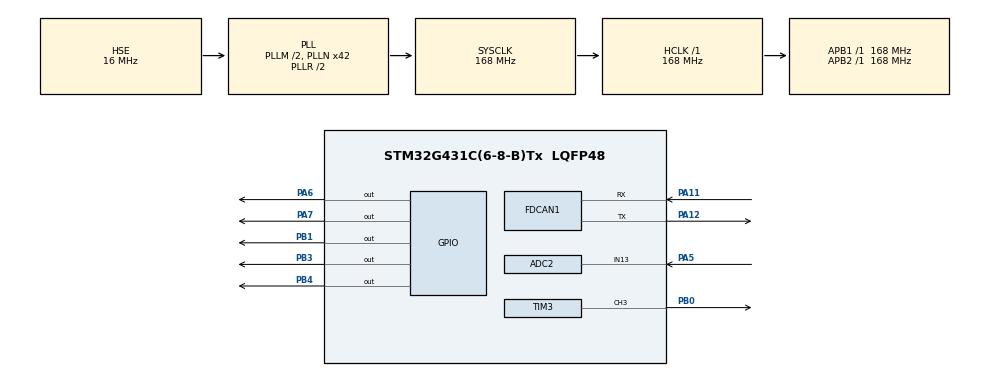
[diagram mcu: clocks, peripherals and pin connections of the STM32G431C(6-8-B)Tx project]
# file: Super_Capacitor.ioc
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ADC2.Channel-0\#ChannelRegularConversion=ADC_CHANNEL_13
ADC2.ClockPrescaler=ADC_CLOCK_ASYNC_DIV1
ADC2.NbrOfConversionFlag=1
ADC2.OffsetNumber-0\#ChannelRegularConversion=ADC_OFFSET_NONE
ADC2.Rank-0\#ChannelRegularConversion=1
ADC2.SamplingTime-0\#ChannelRegularConversion=ADC_SAMPLETIME_2CYCLES_5
FDCAN1.AutoRetransmission=ENABLE
FDCAN1.DataTimeSeg1=4
FDCAN1.DataTimeSeg2=3
FDCAN1.Mode=FDCAN_MODE_EXTERNAL_LOOPBACK
FDCAN1.NominalTimeSeg1=8
FDCAN1.NominalTimeSeg2=7
FDCAN1.StdFiltersNbr=1
FDCAN1.TransmitPause=ENABLE
FREERTOS.MEMORY_ALLOCATION=2
FREERTOS.Queues01=myQueue01,16,uint16_t,0,Dynamic,NULL,NULL;myQueue02,16,uint16_t,0,Dynamic,NULL,NULL;myQueue03,16,uint16_t,0,Dynamic,NULL,NULL
FREERTOS.Tasks01=ADCTask,0,128,Start_Adc_Task,Default,NULL,Dynamic,NULL,NULL;Power_Task,0,256,Start_Power_Task,Default,NULL,Dynamic,NULL,NULL;CAN_Task,0,128,Start_Can_Task,Default,NULL,Dynamic,NULL,NULL
FREERTOS.Timers01=myTimer01,Callback01,osTimerPeriodic,Default,NULL,Dynamic,NULL
FREERTOS.configUSE_TIMERS=1
Mcu.Family=STM32G4
Mcu.Name=STM32G431C(6-8-B)Tx
Mcu.Package=LQFP48
NVIC.FDCAN1_IT0_IRQn=true\:5\:0\:false\:false\:true\:true\:true\:true
NVIC.PriorityGroup=NVIC_PRIORITYGROUP_4
NVIC.TIM6_DAC_IRQn=true\:15\:0\:false\:false\:true\:false\:false\:true
NVIC.TimeBase=TIM6_DAC_IRQn
NVIC.TimeBaseIP=TIM6
PA11.Mode=FDCAN_Activate
PA11.Signal=FDCAN1_RX
PA12.Mode=FDCAN_Activate
PA12.Signal=FDCAN1_TX
PA13.Mode=Serial_Wire
PA13.Signal=SYS_JTMS-SWDIO
PA14.Mode=Serial_Wire
PA14.Signal=SYS_JTCK-SWCLK
PA5.Mode=IN13-Single-Ended
PA5.Signal=ADC2_IN13
PA6.Signal=GPIO_Output
PA7.Signal=GPIO_Output
PB0.Signal=S_TIM3_CH3
PB1.Signal=GPIO_Output
PB3.Signal=GPIO_Output
PB4.Signal=GPIO_Output
PC14-OSC32_IN.Mode=LSE-External-Oscillator
PC14-OSC32_IN.Signal=RCC_OSC32_IN
PC15-OSC32_OUT.Mode=LSE-External-Oscillator
PC15-OSC32_OUT.Signal=RCC_OSC32_OUT
PF0-OSC_IN.Mode=HSE-External-Oscillator
PF0-OSC_IN.Signal=RCC_OSC_IN
PF1-OSC_OUT.Mode=HSE-External-Oscillator
PF1-OSC_OUT.Signal=RCC_OSC_OUT
ProjectManager.HeapSize=0x200
ProjectManager.StackSize=0x400
ProjectManager.TargetToolchain=MDK-ARM V5.32
RCC.ADC12CLockSelection=RCC_ADC12CLKSOURCE_PLL
RCC.ADC12Freq_Value=12000000
RCC.AHBFreq_Value=168000000
RCC.APB1Freq_Value=168000000
RCC.APB1TimFreq_Value=168000000
RCC.APB2Freq_Value=168000000
RCC.APB2TimFreq_Value=168000000
RCC.CortexFreq_Value=168000000
RCC.EXTERNAL_CLOCK_VALUE=12288000
RCC.FDCANCLockSelection=RCC_FDCANCLKSOURCE_HSE
RCC.HCLKFreq_Value=168000000
RCC.HSE_VALUE=16000000
RCC.HSI48_VALUE=48000000
RCC.HSI_VALUE=16000000
RCC.PLLM=RCC_PLLM_DIV2
RCC.PLLN=42
RCC.PLLP=RCC_PLLP_DIV28
RCC.PLLSourceVirtual=RCC_PLLSOURCE_HSE
RCC.SYSCLKFreq_VALUE=168000000
RCC.SYSCLKSource=RCC_SYSCLKSOURCE_PLLCLK
RCC.USBFreq_Value=168000000
RCC.VCOOutputFreq_Value=336000000
SH.S_TIM3_CH3.0=TIM3_CH3,PWM Generation3 CH3
TIM3.Channel-PWM\ Generation3\ CH3=TIM_CHANNEL_3
TIM3.PeriodNoDither=1120
TIM3.Prescaler=1-1
VP_FREERTOS_VS_CMSIS_V1.Mode=CMSIS_V1
VP_SYS_VS_DBSignals.Mode=DisableDeadBatterySignals
VP_SYS_VS_tim6.Mode=TIM6
board=custom

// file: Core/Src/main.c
/* USER CODE BEGIN Header */
/**
 ******************************************************************************/
/*
 *说明
 *LED1闪烁速度表示电容电压  电压越高闪烁越慢 若电压大于20则LED1常亮
 *LED2为错误指示灯，采用c620电调ID闪烁原理，闪烁几下代表发生相应的错误
 *错误优先级高的会优先显示  例：AD采集错误为1，CAN通信错误为2，若AD采集错误与CAN通信错误同时发生，LED2闪烁2下
 *错误优先级可在main.h更改
 *TEST_IS_OR_NOT为测试或者正常工作标志位由硬件控制
 */
/********************************************************************************/
/* USER CODE END Header */
#include "main.h"
#include "cmsis_os.h"
#include "adc.h"
#include "fdcan.h"
#include "tim.h"
#include "gpio.h"

void SystemClock_Config(void);
void MX_FREERTOS_Init(void);

int main(void)
{

  /* MCU Configuration--------------------------------------------------------*/

  /* Reset of all peripherals, Initializes the Flash interface and the Systick. */
  HAL_Init();

  /* Configure the system clock */
  SystemClock_Config();

  /* Initialize all configured peripherals */
  MX_GPIO_Init();
  MX_ADC2_Init();
  MX_FDCAN1_Init();
  MX_TIM3_Init();
  /* USER CODE BEGIN 2 */
  HAL_GPIO_WritePin(GPIOB, GPIO_PIN_12, GPIO_PIN_SET);
  HAL_TIM_PWM_Start(&htim3, TIM_CHANNEL_4);
  FDCAN1_Config();
  /* USER CODE END 2 */

  /* Call init function for freertos objects (in freertos.c) */
  MX_FREERTOS_Init();
  /* Start scheduler */
  osKernelStart();

  /* We should never get here as control is now taken by the scheduler */
  /* Infinite loop */
  while (1)
  {

  }
}

void SystemClock_Config(void)
{
  RCC_OscInitTypeDef RCC_OscInitStruct = {0};
  RCC_ClkInitTypeDef RCC_ClkInitStruct = {0};
  RCC_PeriphCLKInitTypeDef PeriphClkInit = {0};

  /** Configure the main internal regulator output voltage
   */
  HAL_PWREx_ControlVoltageScaling(PWR_REGULATOR_VOLTAGE_SCALE1_BOOST);
  /** Initializes the RCC Oscillators according to the specified parameters
   * in the RCC_OscInitTypeDef structure.
   */
  RCC_OscInitStruct.OscillatorType = RCC_OSCILLATORTYPE_HSE;
  RCC_OscInitStruct.HSEState = RCC_HSE_ON;
  RCC_OscInitStruct.PLL.PLLState = RCC_PLL_ON;
  RCC_OscInitStruct.PLL.PLLSource = RCC_PLLSOURCE_HSE;
  RCC_OscInitStruct.PLL.PLLM = RCC_PLLM_DIV2;
  RCC_OscInitStruct.PLL.PLLN = 42;
  RCC_OscInitStruct.PLL.PLLP = RCC_PLLP_DIV28;
  RCC_OscInitStruct.PLL.PLLQ = RCC_PLLQ_DIV2;
  RCC_OscInitStruct.PLL.PLLR = RCC_PLLR_DIV2;
  if (HAL_RCC_OscConfig(&RCC_OscInitStruct) != HAL_OK)
  {
    Error_Handler();
  }
  /** Initializes the CPU, AHB and APB buses clocks
   */
  RCC_ClkInitStruct.ClockType = RCC_CLOCKTYPE_HCLK | RCC_CLOCKTYPE_SYSCLK | RCC_CLOCKTYPE_PCLK1 | RCC_CLOCKTYPE_PCLK2;
  RCC_ClkInitStruct.SYSCLKSource = RCC_SYSCLKSOURCE_PLLCLK;
  RCC_ClkInitStruct.AHBCLKDivider = RCC_SYSCLK_DIV1;
  RCC_ClkInitStruct.APB1CLKDivider = RCC_HCLK_DIV1;
  RCC_ClkInitStruct.APB2CLKDivider = RCC_HCLK_DIV1;

  if (HAL_RCC_ClockConfig(&RCC_ClkInitStruct, FLASH_LATENCY_4) != HAL_OK)
  {
    Error_Handler();
  }
  /** Initializes the peripherals clocks
   */
  PeriphClkInit.PeriphClockSelection = RCC_PERIPHCLK_ADC12 | RCC_PERIPHCLK_FDCAN;
  PeriphClkInit.FdcanClockSelection = RCC_FDCANCLKSOURCE_HSE;
  PeriphClkInit.Adc12ClockSelection = RCC_ADC12CLKSOURCE_PLL;
  if (HAL_RCCEx_PeriphCLKConfig(&PeriphClkInit) != HAL_OK)
  {
    Error_Handler();
  }
}

/* USER CODE BEGIN 4 */
void LED2(u16 delay_time)
{
  HAL_GPIO_WritePin(GPIOA, GPIO_PIN_4, GPIO_PIN_RESET);
  osDelay(delay_time);
  HAL_GPIO_WritePin(GPIOA, GPIO_PIN_4, GPIO_PIN_SET);
  osDelay(delay_time);
}
void LED1(u8 error_grade)
{
  if (error_grade == 0)
  {
    HAL_GPIO_WritePin(GPIOA, GPIO_PIN_3, GPIO_PIN_SET);
  }
  else
  {
    for (int i = 0; i < error_grade; i++)
    {
      HAL_GPIO_WritePin(GPIOA, GPIO_PIN_3, GPIO_PIN_SET);
      osDelay(100);
      HAL_GPIO_WritePin(GPIOA, GPIO_PIN_3, GPIO_PIN_RESET);
      osDelay(100);
    }
    osDelay(1000);
  }
}
/* USER CODE END 4 */

void HAL_TIM_PeriodElapsedCallback(TIM_HandleTypeDef *htim)
{
  if (htim->Instance == TIM6)
  {
    HAL_IncTick();
  }
}

void Error_Handler(void)
{
  /* USER CODE BEGIN Error_Handler_Debug */
  /* User can add his own implementation to report the HAL error return state */
  //  __disable_irq();
  //  while (1)
  //  {
  //  }
  /* USER CODE END Error_Handler_Debug */
}

/************************ (C) COPYRIGHT STMicroelectronics *****END OF FILE****/

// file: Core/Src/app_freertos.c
/* USER CODE BEGIN Header */
/**
 ******************************************************************************
 * File Name          : app_freertos.c
 * Description        : Code for freertos applications
 ******************************************************************************
 * @attention
 *
 * <h2><center>&copy; Copyright (c) 2022 STMicroelectronics.
 * All rights reserved.</center></h2>
 *
 * This software component is licensed by ST under Ultimate Liberty license
 * SLA0044, the "License"; You may not use this file except in compliance with
 * the License. You may obtain a copy of the License at:
 *                             www.st.com/SLA0044
 *
 ******************************************************************************
 */
/* USER CODE END Header */

#include "FreeRTOS.h"
#include "task.h"
#include "main.h"
#include "cmsis_os.h"

/* USER CODE BEGIN Includes */
#include "adc.h"
#include "tim.h"
#include "PID_Control.h"
#include "INA260_Driver.h"
#include "fdcan.h"
/* USER CODE END Includes */

/* USER CODE BEGIN PTD */
#define VAL_LIMIT(val, min, max) \
	if (val <= min)              \
	{                            \
		val = min;               \
	}                            \
	else if (val >= max)         \
	{                            \
		val = max;               \
	}                            \
/* USER CODE END PTD */

/* USER CODE BEGIN PM */
u8 TEST_IS_OR_NOT = 0;
u8 error_grade = 0;
u8 volt_flag = 0;
InaReal_Data INAReal_Data = {0};
Can_Rx_Union Can_Rx_Data;
int MAX_TIM = 1103;
float adc_voltage, Real_Voltage, TEST_PWER = 12.0f, IAN_I_put = 0, voltate = 0, voltate12 = 23.3f;
unsigned char INA_IN = 0, wait = 0, flag123 = 0;
FDCAN_RxHeaderTypeDef RxHeader;
uint8_t Send_Data[sizeof(InaReal_Data)] = {0}, *Tx_Change_Dtat;
uint8_t Rx_data[8];

void Power_Mod_Select(uint8_t inpower, uint8_t flag);
void current_select(float current, float power);
void Current_PID(int MAXCurrent, float MAXVoltage);
/* USER CODE END PM */

osThreadId ADCTaskHandle;
osThreadId Power_TaskHandle;
osThreadId CAN_TaskHandle;
osThreadId LED_TaskHandle;
osMessageQId myQueue01Handle;
osMessageQId myQueue02Handle;
osMessageQId myQueue03Handle;
osMessageQId myQueue04Handle;
osTimerId myTimer01Handle;

void Start_Adc_Task(void const *argument);
void Start_Power_Task(void const *argument);
void Start_Can_Task(void const *argument);
void Start_LED_Task(void const *argument);
void Callback01(void const *argument);

void MX_FREERTOS_Init(void); /* (MISRA C 2004 rule 8.1) */

/* GetIdleTaskMemory prototype (linked to static allocation support) */
void vApplicationGetIdleTaskMemory(StaticTask_t **ppxIdleTaskTCBBuffer, StackType_t **ppxIdleTaskStackBuffer, uint32_t *pulIdleTaskStackSize);

/* GetTimerTaskMemory prototype (linked to static allocation support) */
void vApplicationGetTimerTaskMemory(StaticTask_t **ppxTimerTaskTCBBuffer, StackType_t **ppxTimerTaskStackBuffer, uint32_t *pulTimerTaskStackSize);

/* USER CODE BEGIN GET_IDLE_TASK_MEMORY */
static StaticTask_t xIdleTaskTCBBuffer;
static StackType_t xIdleStack[configMINIMAL_STACK_SIZE];

void vApplicationGetIdleTaskMemory(StaticTask_t **ppxIdleTaskTCBBuffer, StackType_t **ppxIdleTaskStackBuffer, uint32_t *pulIdleTaskStackSize)
{
	*ppxIdleTaskTCBBuffer = &xIdleTaskTCBBuffer;
	*ppxIdleTaskStackBuffer = &xIdleStack[0];
	*pulIdleTaskStackSize = configMINIMAL_STACK_SIZE;
	/* place for user code */
}
/* USER CODE END GET_IDLE_TASK_MEMORY */

/* USER CODE BEGIN GET_TIMER_TASK_MEMORY */
static StaticTask_t xTimerTaskTCBBuffer;
static StackType_t xTimerStack[configTIMER_TASK_STACK_DEPTH];

void vApplicationGetTimerTaskMemory(StaticTask_t **ppxTimerTaskTCBBuffer, StackType_t **ppxTimerTaskStackBuffer, uint32_t *pulTimerTaskStackSize)
{
	*ppxTimerTaskTCBBuffer = &xTimerTaskTCBBuffer;
	*ppxTimerTaskStackBuffer = &xTimerStack[0];
	*pulTimerTaskStackSize = configTIMER_TASK_STACK_DEPTH;
	/* place for user code */
}
/* USER CODE END GET_TIMER_TASK_MEMORY */

void MX_FREERTOS_Init(void)
{

	/* Create the timer(s) */
	/* definition and creation of myTimer01 */
	osTimerDef(myTimer01, Callback01);
	myTimer01Handle = osTimerCreate(osTimer(myTimer01), osTimerPeriodic, NULL);

	/* Create the queue(s) */
	/* definition and creation of myQueue01 */
	//  osMessageQDef(myQueue01, 16, uint16_t);
	//  myQueue01Handle = osMessageCreate(osMessageQ(myQueue01), NULL);

	/* definition and creation of myQueue02 */
	//  osMessageQDef(myQueue02, 16, uint16_t);
	//  myQueue02Handle = osMessageCreate(osMessageQ(myQueue02), NULL);

	/* definition and creation of myQueue03 */
	//  osMessageQDef(myQueue03, 16, uint16_t);
	//  myQueue03Handle = osMessageCreate(osMessageQ(myQueue03), NULL);

	/* USER CODE BEGIN RTOS_QUEUES */
	//   osMessageQDef(myQueue04, 16, uint16_t);
	//  myQueue04Handle = osMessageCreate(osMessageQ(myQueue04), NULL);
	/* add queues, ... */
	/* USER CODE END RTOS_QUEUES */

	/* Create the thread(s) */
	/* definition and creation of ADCTask */
	osThreadDef(ADCTask, Start_Adc_Task, osPriorityNormal, 0, 128);
	ADCTaskHandle = osThreadCreate(osThread(ADCTask), NULL);

	/* definition and creation of Power_Task */
	osThreadDef(Power_Task, Start_Power_Task, osPriorityNormal, 0, 256);
	Power_TaskHandle = osThreadCreate(osThread(Power_Task), NULL);

	/* definition and creation of CAN_Task */
	osThreadDef(CAN_Task, Start_Can_Task, osPriorityNormal, 0, 128);
	CAN_TaskHandle = osThreadCreate(osThread(CAN_Task), NULL);

	/* USER CODE BEGIN RTOS_THREADS */
	osThreadDef(LED_Task, Start_LED_Task, osPriorityNormal, 0, 128);
	LED_TaskHandle = osThreadCreate(osThread(LED_Task), NULL);
	/* add threads, ... */
	/* USER CODE END RTOS_THREADS */
}

u8 Adc_flag = 0;
void Start_Adc_Task(void const *argument)
{
	/* USER CODE BEGIN Start_Adc_Task */
	/* Infinite loop */
	for (;;)
	{
		HAL_ADC_Start(&hadc2);
		if (HAL_ADC_PollForConversion(&hadc2, 0xff) == HAL_OK)
		{
			Adc_flag = 1;
			adc_voltage = HAL_ADC_GetValue(&hadc2) * 3.3 / 4096;
		}
		else
		{
			if (error_grade < ADC_ERROR_GRADE)
				error_grade = ADC_ERROR_GRADE;
			else
				error_grade = 0;
			LED1(error_grade);
		}
		//
		Real_Voltage = adc_voltage * 7.62f;
		INA_IN = INA_IN + 1;
		if (INA_IN > 50)
		{
			INA_IN = 51;
		}
		osDelay(1);
	}
	/* USER CODE END Start_Adc_Task */
}

void Start_Power_Task(void const *argument)
{
	/* USER CODE BEGIN Start_Power_Task */
	INA_Init();
	/* Infinite loop */
	for (;;)
	{
		TEST_IS_OR_NOT = HAL_GPIO_ReadPin(GPIOA, GPIO_PIN_2);
		if (TEST_IS_OR_NOT == 1) //正常工作模式
		{
			if (Can_Rx_Data.Rx_Data.flag == 1)
			{
				Power_Mod_Select(Can_Rx_Data.Rx_Data.power_limit, 1);
			}
			else if (Can_Rx_Data.Rx_Data.flag == 2)
			{
				Power_Mod_Select(Can_Rx_Data.Rx_Data.power_limit, 2);
			}
			else
			{
				Power_Mod_Select(40, 0);
			}
		}
		else if (TEST_IS_OR_NOT == 0) //调试模式
		{
			if (Real_Voltage <= TEST_PWER)
			{
				flag123 = 1;
			}
			else if (Real_Voltage >= 22.5f)
			{
				flag123 = 0;
			}
			if (flag123 == 0)
			{
				Power_Mod_Select(100, 1);
			}
			else
			{
				Power_Mod_Select(100, 2);
			}
		}

		osDelay(1);
	}
	/* USER CODE END Start_Power_Task */
}

Tx_data Can_sent_data;
//u16 err_time = 0;
void Start_Can_Task(void const *argument)
{
	/* USER CODE BEGIN Start_Can_Task */
	/* Infinite loop */
	for (;;)
	{
		Can_sent_data.super_volt = (u16)(Real_Voltage * 1000);
		Can_sent_data.power = INAReal_Data.power;
		Can_sent_data.current = INAReal_Data.current;
		Tx_Change_Dtat = (uint8_t *)&Can_sent_data;
		for (int i = 0; i < sizeof(Tx_data); i++)
		{
			Send_Data[i] = *Tx_Change_Dtat;
			Tx_Change_Dtat++;
		}
		Send_Massage(0x300, Send_Data);
		osDelay(1);
//		if (HAL_FDCAN_GetRxMessage(&hfdcan1, FDCAN_RX_FIFO0, &RxHeader, Can_Rx_Data.Array_RX_data) == HAL_OK)
//		{
//			err_time = 0;
//		}
//		else if (HAL_FDCAN_GetRxMessage(&hfdcan1, FDCAN_RX_FIFO0, &RxHeader, Can_Rx_Data.Array_RX_data) != HAL_OK)
//		{
//			//			 err_time++;
//			if (error_grade <= CAN_ERROR_GRADE)
//				error_grade = CAN_ERROR_GRADE;
//			else
//				error_grade = error_grade;
//			LED1(error_grade);
//		}
//		osDelay(1);
	}
	/* USER CODE END Start_Can_Task */
}

/* Callback01 function */
void Callback01(void const *argument)
{
}

/* USER CODE BEGIN Application */
void Start_LED_Task(void const *argument)
{
	for (;;)
	{
		if (volt_flag == 1)
		{
			LED2(100);
		}
		else if (volt_flag == 2)
		{
			LED2(200);
		}
		else if (volt_flag == 3)
		{
			HAL_GPIO_WritePin(GPIOA, GPIO_PIN_4, GPIO_PIN_SET);
		}
		else
		{
			HAL_GPIO_WritePin(GPIOA, GPIO_PIN_4, GPIO_PIN_RESET);
		}
		osDelay(1);
	}
}

void Power_Mod_Select(uint8_t inpower, uint8_t flag)
{
	switch (flag)
	{
	case 1:
		HAL_GPIO_WritePin(GPIOA, GPIO_PIN_7, GPIO_PIN_SET);	  //超级电容输出通路通
		HAL_GPIO_WritePin(GPIOA, GPIO_PIN_6, GPIO_PIN_RESET); //电池输出通路断
		break;
	case 2:
		HAL_GPIO_WritePin(GPIOA, GPIO_PIN_7, GPIO_PIN_RESET); //超级电容输出通路通
		HAL_GPIO_WritePin(GPIOA, GPIO_PIN_6, GPIO_PIN_SET);	  //电池输出通路通//双通只走电池

		break;
	default:
		HAL_GPIO_WritePin(GPIOA, GPIO_PIN_7, GPIO_PIN_RESET);
		HAL_GPIO_WritePin(GPIOA, GPIO_PIN_6, GPIO_PIN_RESET);
		break;
	}
	switch (inpower)
	{
	case 0:
		IAN_I_put = 0;
		__HAL_TIM_SET_COMPARE(&htim3, TIM_CHANNEL_4, IAN_I_put);
		break;
	case 40:
		current_select(1660, 40); //
		break;
	case 45:
		current_select(1875, 45);
		break;
	case 50:
		current_select(2080, 50);
		break;
	case 55:
		current_select(2290, 55);
		break;
	case 60:
		current_select(2500, 60);
		break;
	case 80:
		current_select(3330, 80);
		break;
	case 100:
		current_select(4160, 100);
		break;
	default:
		if (inpower < 100)
		{
			current_select((float)(inpower / 24.0f), inpower);
		}
		else
		{
			current_select(0, 0);
		}
		break;
	}
}
float change_rate;
void current_select(float current, float power)
{
	if (INA_IN > 50)
	{

		INA260_DataUpdate();
		osDelay(2);
		__HAL_TIM_SET_COMPARE(&htim3, TIM_CHANNEL_4, IAN_I_put);
		osDelay(2);
		if (Real_Voltage < 2)
		{
			wait++;
			if (wait > 200 && INAReal_Data.current < current)
			{
				wait = 210;
				IAN_I_put = IAN_I_put + 0.1f;
			}
			else if (wait > 200 && INAReal_Data.current > current)
			{
				wait = 210;
				IAN_I_put = IAN_I_put - 0.1f;
			}
			VAL_LIMIT(IAN_I_put, 0, MAX_TIM);
			__HAL_TIM_SET_COMPARE(&htim3, TIM_CHANNEL_4, IAN_I_put);
			volt_flag = 1;
		}
		else if (Real_Voltage < 5 && Real_Voltage > 2)
		{
			if (INAReal_Data.current < current)
			{
				IAN_I_put = IAN_I_put + 0.3f;
			}
			else if (INAReal_Data.current > current)
			{
				IAN_I_put = IAN_I_put - 0.3f;
			}
			VAL_LIMIT(IAN_I_put, 0, MAX_TIM);
			__HAL_TIM_SET_COMPARE(&htim3, TIM_CHANNEL_4, IAN_I_put);
			volt_flag = 1;
		}
		else if (Real_Voltage < 10 && Real_Voltage > 5)
		{
			current = (power * 1000 / (INAReal_Data.voltage + 600)) * 1000;
			if (INAReal_Data.current < current)
			{
				IAN_I_put = IAN_I_put + 0.5f;
			}
			else if (INAReal_Data.current > current)
			{
				IAN_I_put = IAN_I_put - 0.5f;
			}
			VAL_LIMIT(IAN_I_put, 0, MAX_TIM);
			volt_flag = 1;
			__HAL_TIM_SET_COMPARE(&htim3, TIM_CHANNEL_4, IAN_I_put);
		}
		else
		{
			change_rate = ((float)Can_Rx_Data.Rx_Data.Buffer_Energy * 1000 / ((float)INAReal_Data.voltage + 600)) * 1000 * ((float)Can_Rx_Data.Rx_Data.Buffer_Energy / 60);
			current = (power * 1000 / (INAReal_Data.voltage + 600)) * 1000 /*+(Can_Rx_Data.Rx_Data.Buffer_Energy*1000/(INAReal_Data.voltage+600))*1000*(Can_Rx_Data.Rx_Data.Buffer_Energy/60)*/;
			voltate = INAReal_Data.voltage - 800;
			voltate = (voltate / 1000);
			if (voltate > voltate12)
			{
				voltate = voltate12;
			}
			Current_PID(current, voltate);
			if (Real_Voltage < 21)
			{
				volt_flag = 2;
			}
			else
			{
				volt_flag = 3;
			}
		}
	}
}
float currentP = 0.0005f, currentI = 0.000085f, currentD = 0;
float voltageP = 2000, voltageI = 0, voltageD = 0;
PID pid_current;
PID pid_voltage;
void Current_PID(int MAXCurrent, float MAXVoltage)
{
	pid_voltage.ref = Real_Voltage;
	pid_voltage.fdb = MAXVoltage;
	PID_Set(&pid_voltage, voltageP, voltageI, voltageD, 2000);
	PID_Control(&pid_voltage);								 //电容电压-输入电压
	VAL_LIMIT(pid_voltage.pid_out, -MAXCurrent, MAXCurrent); //限电流

	pid_current.ref = -pid_voltage.pid_out; //
	pid_current.fdb = INAReal_Data.current; //输入电流
	PID_Set(&pid_current, currentP, currentI, currentD, 2000);
	PID_Control(&pid_current); //-电压环输出-输入电流
	VAL_LIMIT(pid_current.pid_out, -MAX_TIM, MAX_TIM);
	IAN_I_put = IAN_I_put + pid_current.pid_out;
	VAL_LIMIT(IAN_I_put, 0, MAX_TIM);

	__HAL_TIM_SET_COMPARE(&htim3, TIM_CHANNEL_4, IAN_I_put);
}
/* USER CODE END Application */

/************************ (C) COPYRIGHT STMicroelectronics *****END OF FILE****/
